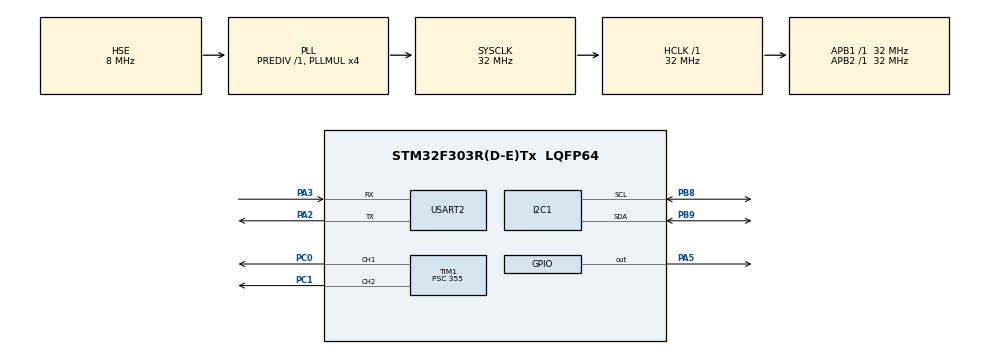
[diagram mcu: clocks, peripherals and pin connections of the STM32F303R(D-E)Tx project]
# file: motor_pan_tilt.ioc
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Mcu.Family=STM32F3
Mcu.Name=STM32F303R(D-E)Tx
Mcu.Package=LQFP64
NVIC.PriorityGroup=NVIC_PRIORITYGROUP_4
NVIC.USART2_IRQn=true\:0\:0\:false\:false\:true\:true\:true\:true
PA13.Mode=Serial_Wire
PA13.Signal=SYS_JTMS-SWDIO
PA14.Mode=Serial_Wire
PA14.Signal=SYS_JTCK-SWCLK
PA2.Mode=Asynchronous
PA2.Signal=USART2_TX
PA3.Mode=Asynchronous
PA3.Signal=USART2_RX
PA5.Signal=GPIO_Output
PB8.Mode=I2C
PB8.Signal=I2C1_SCL
PB9.Mode=I2C
PB9.Signal=I2C1_SDA
PC0.Signal=S_TIM1_CH1
PC1.Signal=S_TIM1_CH2
PF0-OSC_IN.Mode=HSE-External-Oscillator
PF0-OSC_IN.Signal=RCC_OSC_IN
PF1-OSC_OUT.Mode=HSE-External-Oscillator
PF1-OSC_OUT.Signal=RCC_OSC_OUT
ProjectManager.HeapSize=0x200
ProjectManager.StackSize=0x400
ProjectManager.TargetToolchain=STM32CubeIDE
RCC.AHBFreq_Value=32000000
RCC.APB1Freq_Value=32000000
RCC.APB1TimFreq_Value=32000000
RCC.APB2Freq_Value=32000000
RCC.APB2TimFreq_Value=32000000
RCC.CortexFreq_Value=32000000
RCC.HCLKFreq_Value=32000000
RCC.HSE_VALUE=8000000
RCC.HSI_VALUE=8000000
RCC.LSE_VALUE=32768
RCC.PLLMUL=RCC_PLL_MUL4
RCC.PLLSourceVirtual=RCC_PLLSOURCE_HSE
RCC.SYSCLKFreq_VALUE=32000000
RCC.SYSCLKSourceVirtual=RCC_SYSCLKSOURCE_PLLCLK
RCC.USBFreq_Value=32000000
SH.S_TIM1_CH1.0=TIM1_CH1,PWM Generation1 CH1
SH.S_TIM1_CH2.0=TIM1_CH2,PWM Generation2 CH2
TIM1.Channel-PWM\ Generation1\ CH1=TIM_CHANNEL_1
TIM1.Channel-PWM\ Generation2\ CH2=TIM_CHANNEL_2
TIM1.Period=1799
TIM1.Prescaler=355
USART2.VirtualMode-Asynchronous=VM_ASYNC
board=custom

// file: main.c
/* USER CODE BEGIN Header */
/**
  ******************************************************************************
  * @file           : main.c
  * @brief          : Main program body
  ******************************************************************************
  * @attention
  *
  * Copyright (c) 2023 STMicroelectronics.
  * All rights reserved.
  *
  * This software is licensed under terms that can be found in the LICENSE file
  * in the root directory of this software component.
  * If no LICENSE file comes with this software, it is provided AS-IS.
  *
  ******************************************************************************
  */
/* USER CODE END Header */
#include "main.h"
#include <stdlib.h> //it is for atoi
#include <stdbool.h> // to be able to use true false
#include "liquidcrystal_i2c.h" //LCD Display

I2C_HandleTypeDef hi2c1;

TIM_HandleTypeDef htim1;

UART_HandleTypeDef huart2;

/* USER CODE BEGIN PV */
uint8_t rx_data[3];
/* USER CODE END PV */

void SystemClock_Config(void);
static void MX_GPIO_Init(void);
static void MX_TIM1_Init(void);
static void MX_USART2_UART_Init(void);
static void MX_I2C1_Init(void);
/* USER CODE BEGIN PFP */
volatile static int result = 0;
volatile static int count = 0;
/* USER CODE END PFP */

/* USER CODE BEGIN 0 */
void Servo_Angle(int angle){
	if(angle < 0){
		angle = 0;
	}
	if(angle > 180){
		angle = 180;
	}
	angle += 45;
	__HAL_TIM_SET_COMPARE(&htim1, TIM_CHANNEL_1, angle);
}

void Servo2_Angle(int angle){
	if(angle < 0){
		angle = 0;
	}
	if(angle > 180){
		angle = 180;
	}
	angle += 45;
	__HAL_TIM_SET_COMPARE(&htim1, TIM_CHANNEL_2, angle);
}
/* USER CODE END 0 */

int main(void)
{

  /* MCU Configuration--------------------------------------------------------*/

  /* Reset of all peripherals, Initializes the Flash interface and the Systick. */
  HAL_Init();

  /* Configure the system clock */
  SystemClock_Config();

  /* Initialize all configured peripherals */
  MX_GPIO_Init();
  MX_TIM1_Init();
  MX_USART2_UART_Init();
  MX_I2C1_Init();
  HD44780_Init(2);
  HD44780_Clear();

  /* USER CODE BEGIN 2 */
  HAL_TIM_PWM_Start(&htim1, TIM_CHANNEL_1);
  HAL_TIM_PWM_Start(&htim1, TIM_CHANNEL_2);
  HAL_UART_Receive_IT(&huart2, rx_data, 3);
  /* USER CODE END 2 */

  /* Infinite loop */
  /* USER CODE BEGIN WHILE */
  Servo_Angle(90);
  Servo2_Angle(90);
  HD44780_SetCursor(0,0);
  HD44780_PrintStr("x px:");
  HD44780_SetCursor(0,1);
  HD44780_PrintStr("y px:");
  while(1)
  {
    /* USER CODE END WHILE */
	  result = atoi(rx_data);
	  if(count % 2 == 1){
		  result = 35 - (result * 70 / 600);
		  Servo_Angle(result + 90);
		  HAL_Delay(50);
	  }
	  else{
		  result = - 25 + (result * 50 / 450);
		  Servo2_Angle(result + 90);
		  HAL_Delay(50);
	  }
  }
}

void SystemClock_Config(void)
{
  RCC_OscInitTypeDef RCC_OscInitStruct = {0};
  RCC_ClkInitTypeDef RCC_ClkInitStruct = {0};
  RCC_PeriphCLKInitTypeDef PeriphClkInit = {0};

  /** Initializes the RCC Oscillators according to the specified parameters
  * in the RCC_OscInitTypeDef structure.
  */
  RCC_OscInitStruct.OscillatorType = RCC_OSCILLATORTYPE_HSI|RCC_OSCILLATORTYPE_HSE;
  RCC_OscInitStruct.HSEState = RCC_HSE_ON;
  RCC_OscInitStruct.HSIState = RCC_HSI_ON;
  RCC_OscInitStruct.HSICalibrationValue = RCC_HSICALIBRATION_DEFAULT;
  RCC_OscInitStruct.PLL.PLLState = RCC_PLL_ON;
  RCC_OscInitStruct.PLL.PLLSource = RCC_PLLSOURCE_HSE;
  RCC_OscInitStruct.PLL.PLLMUL = RCC_PLL_MUL4;
  RCC_OscInitStruct.PLL.PREDIV = RCC_PREDIV_DIV1;
  if (HAL_RCC_OscConfig(&RCC_OscInitStruct) != HAL_OK)
  {
    Error_Handler();
  }

  /** Initializes the CPU, AHB and APB buses clocks
  */
  RCC_ClkInitStruct.ClockType = RCC_CLOCKTYPE_HCLK|RCC_CLOCKTYPE_SYSCLK
                              |RCC_CLOCKTYPE_PCLK1|RCC_CLOCKTYPE_PCLK2;
  RCC_ClkInitStruct.SYSCLKSource = RCC_SYSCLKSOURCE_PLLCLK;
  RCC_ClkInitStruct.AHBCLKDivider = RCC_SYSCLK_DIV1;
  RCC_ClkInitStruct.APB1CLKDivider = RCC_HCLK_DIV1;
  RCC_ClkInitStruct.APB2CLKDivider = RCC_HCLK_DIV1;

  if (HAL_RCC_ClockConfig(&RCC_ClkInitStruct, FLASH_LATENCY_1) != HAL_OK)
  {
    Error_Handler();
  }
  PeriphClkInit.PeriphClockSelection = RCC_PERIPHCLK_USART2|RCC_PERIPHCLK_I2C1
                              |RCC_PERIPHCLK_TIM1;
  PeriphClkInit.Usart2ClockSelection = RCC_USART2CLKSOURCE_PCLK1;
  PeriphClkInit.I2c1ClockSelection = RCC_I2C1CLKSOURCE_HSI;
  PeriphClkInit.Tim1ClockSelection = RCC_TIM1CLK_HCLK;
  if (HAL_RCCEx_PeriphCLKConfig(&PeriphClkInit) != HAL_OK)
  {
    Error_Handler();
  }
}

static void MX_I2C1_Init(void)
{

  hi2c1.Instance = I2C1;
  hi2c1.Init.Timing = 0x2000090E;
  hi2c1.Init.OwnAddress1 = 0;
  hi2c1.Init.AddressingMode = I2C_ADDRESSINGMODE_7BIT;
  hi2c1.Init.DualAddressMode = I2C_DUALADDRESS_DISABLE;
  hi2c1.Init.OwnAddress2 = 0;
  hi2c1.Init.OwnAddress2Masks = I2C_OA2_NOMASK;
  hi2c1.Init.GeneralCallMode = I2C_GENERALCALL_DISABLE;
  hi2c1.Init.NoStretchMode = I2C_NOSTRETCH_DISABLE;
  if (HAL_I2C_Init(&hi2c1) != HAL_OK)
  {
    Error_Handler();
  }

  /** Configure Analogue filter
  */
  if (HAL_I2CEx_ConfigAnalogFilter(&hi2c1, I2C_ANALOGFILTER_ENABLE) != HAL_OK)
  {
    Error_Handler();
  }

  /** Configure Digital filter
  */
  if (HAL_I2CEx_ConfigDigitalFilter(&hi2c1, 0) != HAL_OK)
  {
    Error_Handler();
  }

}

static void MX_TIM1_Init(void)
{

  TIM_MasterConfigTypeDef sMasterConfig = {0};
  TIM_OC_InitTypeDef sConfigOC = {0};
  TIM_BreakDeadTimeConfigTypeDef sBreakDeadTimeConfig = {0};

  htim1.Instance = TIM1;
  htim1.Init.Prescaler = 355;
  htim1.Init.CounterMode = TIM_COUNTERMODE_UP;
  htim1.Init.Period = 1799;
  htim1.Init.ClockDivision = TIM_CLOCKDIVISION_DIV1;
  htim1.Init.RepetitionCounter = 0;
  htim1.Init.AutoReloadPreload = TIM_AUTORELOAD_PRELOAD_DISABLE;
  if (HAL_TIM_PWM_Init(&htim1) != HAL_OK)
  {
    Error_Handler();
  }
  sMasterConfig.MasterOutputTrigger = TIM_TRGO_RESET;
  sMasterConfig.MasterOutputTrigger2 = TIM_TRGO2_RESET;
  sMasterConfig.MasterSlaveMode = TIM_MASTERSLAVEMODE_DISABLE;
  if (HAL_TIMEx_MasterConfigSynchronization(&htim1, &sMasterConfig) != HAL_OK)
  {
    Error_Handler();
  }
  sConfigOC.OCMode = TIM_OCMODE_PWM1;
  sConfigOC.Pulse = 0;
  sConfigOC.OCPolarity = TIM_OCPOLARITY_HIGH;
  sConfigOC.OCNPolarity = TIM_OCNPOLARITY_HIGH;
  sConfigOC.OCFastMode = TIM_OCFAST_DISABLE;
  sConfigOC.OCIdleState = TIM_OCIDLESTATE_RESET;
  sConfigOC.OCNIdleState = TIM_OCNIDLESTATE_RESET;
  if (HAL_TIM_PWM_ConfigChannel(&htim1, &sConfigOC, TIM_CHANNEL_1) != HAL_OK)
  {
    Error_Handler();
  }
  if (HAL_TIM_PWM_ConfigChannel(&htim1, &sConfigOC, TIM_CHANNEL_2) != HAL_OK)
  {
    Error_Handler();
  }
  sBreakDeadTimeConfig.OffStateRunMode = TIM_OSSR_DISABLE;
  sBreakDeadTimeConfig.OffStateIDLEMode = TIM_OSSI_DISABLE;
  sBreakDeadTimeConfig.LockLevel = TIM_LOCKLEVEL_OFF;
  sBreakDeadTimeConfig.DeadTime = 0;
  sBreakDeadTimeConfig.BreakState = TIM_BREAK_DISABLE;
  sBreakDeadTimeConfig.BreakPolarity = TIM_BREAKPOLARITY_HIGH;
  sBreakDeadTimeConfig.BreakFilter = 0;
  sBreakDeadTimeConfig.Break2State = TIM_BREAK2_DISABLE;
  sBreakDeadTimeConfig.Break2Polarity = TIM_BREAK2POLARITY_HIGH;
  sBreakDeadTimeConfig.Break2Filter = 0;
  sBreakDeadTimeConfig.AutomaticOutput = TIM_AUTOMATICOUTPUT_DISABLE;
  if (HAL_TIMEx_ConfigBreakDeadTime(&htim1, &sBreakDeadTimeConfig) != HAL_OK)
  {
    Error_Handler();
  }
  HAL_TIM_MspPostInit(&htim1);

}

static void MX_USART2_UART_Init(void)
{

  huart2.Instance = USART2;
  huart2.Init.BaudRate = 38400;
  huart2.Init.WordLength = UART_WORDLENGTH_8B;
  huart2.Init.StopBits = UART_STOPBITS_1;
  huart2.Init.Parity = UART_PARITY_NONE;
  huart2.Init.Mode = UART_MODE_TX_RX;
  huart2.Init.HwFlowCtl = UART_HWCONTROL_NONE;
  huart2.Init.OverSampling = UART_OVERSAMPLING_16;
  huart2.Init.OneBitSampling = UART_ONE_BIT_SAMPLE_DISABLE;
  huart2.AdvancedInit.AdvFeatureInit = UART_ADVFEATURE_NO_INIT;
  if (HAL_UART_Init(&huart2) != HAL_OK)
  {
    Error_Handler();
  }

}

static void MX_GPIO_Init(void)
{
  GPIO_InitTypeDef GPIO_InitStruct = {0};

  /* GPIO Ports Clock Enable */
  __HAL_RCC_GPIOF_CLK_ENABLE();
  __HAL_RCC_GPIOC_CLK_ENABLE();
  __HAL_RCC_GPIOA_CLK_ENABLE();
  __HAL_RCC_GPIOB_CLK_ENABLE();

  /*Configure GPIO pin Output Level */
  HAL_GPIO_WritePin(GPIOA, GPIO_PIN_5, GPIO_PIN_RESET);

  /*Configure GPIO pin : PA5 */
  GPIO_InitStruct.Pin = GPIO_PIN_5;
  GPIO_InitStruct.Mode = GPIO_MODE_OUTPUT_PP;
  GPIO_InitStruct.Pull = GPIO_NOPULL;
  GPIO_InitStruct.Speed = GPIO_SPEED_FREQ_LOW;
  HAL_GPIO_Init(GPIOA, &GPIO_InitStruct);

}

/* USER CODE BEGIN 4 */
void HAL_UART_RxCpltCallback(UART_HandleTypeDef *huart)
{
  /* Prevent unused argument(s) compilation warning */

  /* NOTE : This function should not be modified, when the callback is needed,
            the HAL_UART_RxCpltCallback can be implemented in the user file.
   */
  count++;
  HAL_UART_Receive_IT(&huart2, rx_data, 3);

  if(count % 8 == 1){
	  HD44780_SetCursor(0,0);
	  HD44780_PrintStr("x px:");
	  HD44780_PrintSpecialChar(rx_data[0]);
	  HD44780_PrintSpecialChar(rx_data[1]);
	  HD44780_PrintSpecialChar(rx_data[2]);
  }
  else if(count % 8 == 0){
	  HD44780_SetCursor(0,1);
	  HD44780_PrintStr("y px:");
	  HD44780_PrintSpecialChar(rx_data[0]);
	  HD44780_PrintSpecialChar(rx_data[1]);
	  HD44780_PrintSpecialChar(rx_data[2]);
  }
}
/* USER CODE END 4 */

void Error_Handler(void)
{
  __disable_irq();
  while (1)
  {
  }
}
